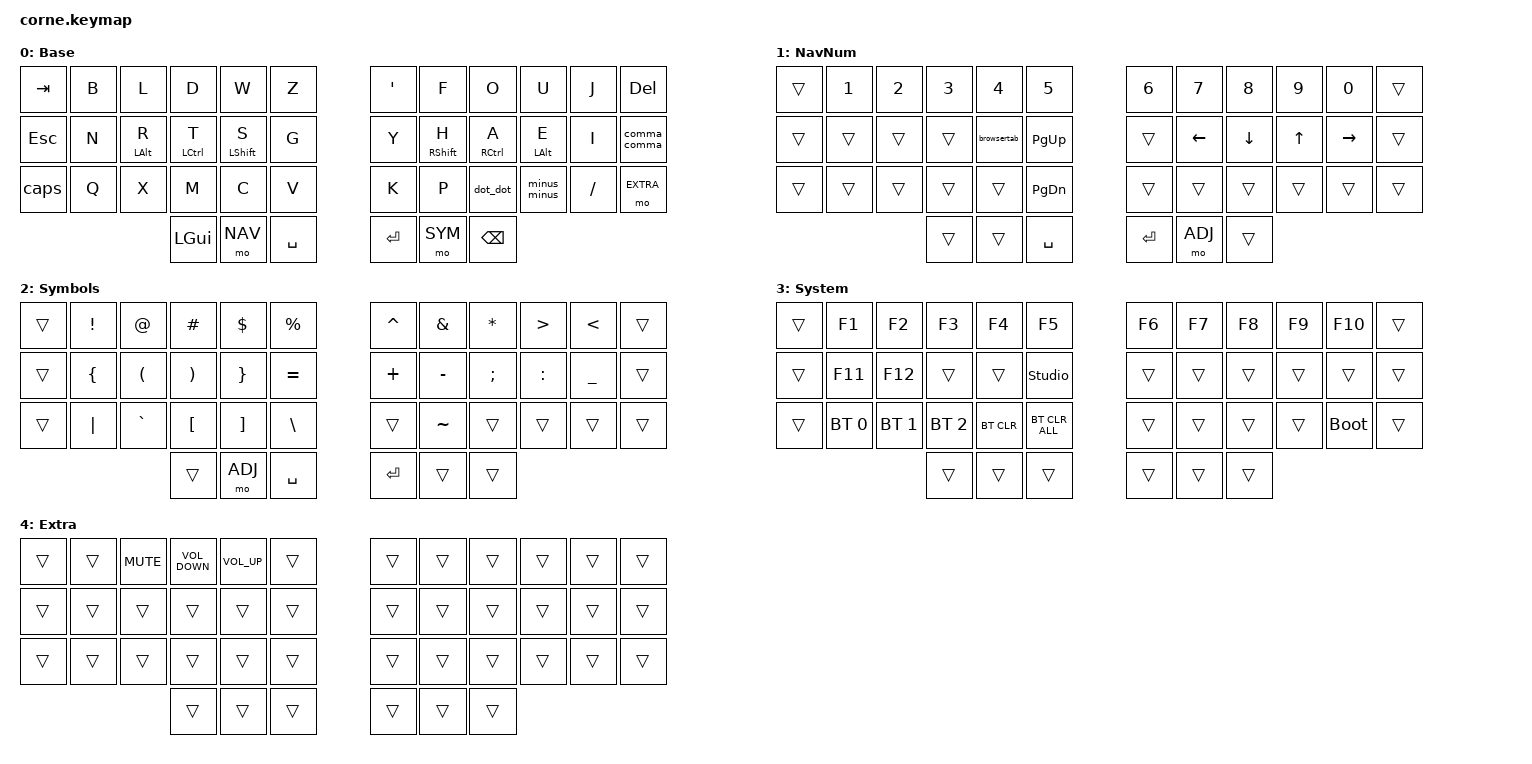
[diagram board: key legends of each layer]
#include <behaviors.dtsi>
#include <dt-bindings/zmk/bt.h>
#include <dt-bindings/zmk/keys.h>

#define DEF 0
#define NAV 1
#define SYM 2
#define ADJ 3
#define EXTRA 4

/ {
    behaviors {
        /* Positional home-row mods: a hold only registers if the next key is on
           the OPPOSITE hand (or a thumb); same-hand sequences always resolve as
           letters, so hesitating mid-word can no longer emit a stray modifier.
           hold-trigger-on-release keeps same-hand mod stacking (e.g. Ctrl+Shift). */
        hml: homerow_mods_left {
            compatible = "zmk,behavior-hold-tap";
            #binding-cells = <2>;
            tapping-term-ms = <200>;
            flavor = "tap-preferred";
            bindings = <&kp>, <&kp>;

            quick-tap-ms = <180>;
            require-prior-idle-ms = <120>; /* tune to taste */
            hold-trigger-key-positions = <6 7 8 9 10 11 18 19 20 21 22 23 30 31 32 33 34 35 36 37 38 39 40 41>;
            hold-trigger-on-release;
        };

        hmr: homerow_mods_right {
            compatible = "zmk,behavior-hold-tap";
            #binding-cells = <2>;
            tapping-term-ms = <200>;
            flavor = "tap-preferred";
            bindings = <&kp>, <&kp>;

            quick-tap-ms = <180>;
            require-prior-idle-ms = <120>; /* tune to taste */
            hold-trigger-key-positions = <0 1 2 3 4 5 12 13 14 15 16 17 24 25 26 27 28 29 36 37 38 39 40 41>;
            hold-trigger-on-release;
        };

        caps: caps {
            compatible = "zmk,behavior-caps-word";
            #binding-cells = <0>;
            continue-list = <MINUS BACKSPACE>;
        };

        /* Shift-cancelling morphs: these keys print the same character whether
           or not Shift is held (Shift is masked). ' and / are plain keys, so
           they keep their standard shifted symbols (" and ?). */
        comma_comma: comma_comma {
            compatible = "zmk,behavior-mod-morph";
            bindings = <&kp COMMA>, <&kp COMMA>;

            #binding-cells = <0>;
            mods = <(MOD_LSFT|MOD_RSFT)>;
        };

        dot_dot: dot_dot {
            compatible = "zmk,behavior-mod-morph";
            bindings = <&kp PERIOD>, <&kp PERIOD>;

            #binding-cells = <0>;
            mods = <(MOD_LSFT|MOD_RSFT)>;
        };

        minus_minus: minus_minus {
            compatible = "zmk,behavior-mod-morph";
            bindings = <&kp MINUS>, <&kp MINUS>;

            #binding-cells = <0>;
            mods = <(MOD_LSFT|MOD_RSFT)>;
        };
    };

    macros {
        browsertab: browsertab {
            compatible = "zmk,behavior-macro";
            #binding-cells = <0>;
            bindings =
                <&macro_press>,
                <&kp LCTRL>,
                <&macro_tap>,
                <&kp TAB>,
                <&macro_release>,
                <&kp LCTRL>;
        };
    };

    keymap {
        compatible = "zmk,keymap";

        DEF {
            display-name = "Base";

            // Graphite (2023) + home-row mods (hold: Alt/Ctrl/Shift)
            // Shift behavior: '(") and /(?) are standard; , . - always print themselves
            // -----------------------------------------------------------------------------------------
            // | TAB |  B  |  L  |  D  |  W  |  Z  |   | '(") |  F  |  O  |  U  |  J  | DEL   |
            // | ESC |  N  |  R  |  T  |  S  |  G  |   |  Y   |  H  |  A  |  E  |  I  |  ,    |
            // | CAPS|  Q  |  X  |  M  |  C  |  V  |   |  K   |  P  |  .  |  -  | /(?)| EXTRA |
            //                   | GUI | NAV | SPC |   | ENT  | SYM | BSPC |

            bindings = <
&kp TAB      &kp B         &kp L         &kp D          &kp W          &kp Z        &kp SQT    &kp F          &kp O          &kp U         &kp J         &kp DELETE
&kp ESCAPE   &kp N         &hml LALT R   &hml LCTRL T   &hml LSHFT S   &kp G        &kp Y      &hmr RSHFT H   &hmr RCTRL A   &hmr LALT E   &kp I         &comma_comma
&caps        &kp Q         &kp X         &kp M          &kp C          &kp V        &kp K      &kp P          &dot_dot       &minus_minus  &kp FSLH      &mo EXTRA
                                         &kp LGUI       &mo NAV        &kp SPACE    &kp RET    &mo SYM        &kp BACKSPACE
            >;
        };

        NAV {
            display-name = "NavNum";

            // -----------------------------------------------------------------------------------------
            // |     |  1  |  2  |  3  |  4   |  5   |   |  6  |  7  |  8  |  9  |  0  |     |
            // |     |     |     |     | CTAB | PGUP |   |     | LFT | DWN | UP  | RGT |     |
            // |     |     |     |     |      | PGDN |   |     |     |     |     |     |     |
            //                   |     |(held)| SPC  |   | ENT | ADJ |     |

            bindings = <
&trans      &kp N1  &kp N2  &kp N3    &kp N4       &kp N5           &kp N6   &kp N7    &kp N8    &kp N9        &kp N0     &trans
&trans      &trans  &trans  &trans    &browsertab  &kp PAGE_UP      &trans   &kp LEFT  &kp DOWN  &kp UP_ARROW  &kp RIGHT  &trans
&trans      &trans  &trans  &trans    &trans       &kp PAGE_DOWN    &trans   &trans    &trans    &trans        &trans     &trans
                            &trans    &trans       &kp SPACE        &kp RET  &mo ADJ   &trans
            >;
        };

        SYM {
            display-name = "Symbols";

            // -----------------------------------------------------------------------------------------
            // |     |  !  |  @  |  #  |  $  |  %  |   |  ^  |  &  |  *  |  >  |  <  |     |
            // |     |  {  |  (  |  )  |  }  |  =  |   |  +  |  -  |  ;  |  :  |  _  |     |
            // |     | "|" |  `  |  [  |  ]  |  \  |   |     |  ~  |     |     |     |     |
            //                   |     | ADJ |  SPC |   | ENT |(held)|     |

            bindings = <
&trans  &kp EXCL        &kp AT                &kp HASH               &kp DLLR           &kp PRCNT        &kp CARET  &kp AMPS   &kp ASTRK      &kp GREATER_THAN  &kp LESS_THAN   &trans
&trans  &kp LEFT_BRACE  &kp LEFT_PARENTHESIS  &kp RIGHT_PARENTHESIS  &kp RIGHT_BRACE    &kp EQUAL        &kp PLUS   &kp MINUS  &kp SEMICOLON  &kp COLON         &kp UNDERSCORE  &trans
&trans  &kp PIPE        &kp GRAVE             &kp LEFT_BRACKET       &kp RIGHT_BRACKET  &kp BACKSLASH    &trans     &kp TILDE  &trans         &trans            &trans          &trans
                                              &trans                 &mo ADJ            &kp SPACE        &kp RET    &trans     &trans
            >;
        };

        ADJ {
            display-name = "System";

            // -----------------------------------------------------------------------------------------
            // |     |  F1 |  F2 |  F3 |  F4  |  F5   |   |  F6 |  F7 |  F8 |  F9 | F10  |     |
            // |     | F11 | F12 |     |      | STUDIO|   |     |     |     |     |      |     |
            // |     | BT0 | BT1 | BT2 | BTCLR| CLRALL|   |     |     |     |     | BOOT |     |
            //                   |     |(held)|       |   |     |(held)|    |

            bindings = <
&trans  &kp F1        &kp F2        &kp F3        &kp F4      &kp F5            &kp F6  &kp F7  &kp F8  &kp F9  &kp F10      &trans
&trans  &kp F11       &kp F12       &trans        &trans      &studio_unlock    &trans  &trans  &trans  &trans  &trans       &trans
&trans  &bt BT_SEL 0  &bt BT_SEL 1  &bt BT_SEL 2  &bt BT_CLR  &bt BT_CLR_ALL    &trans  &trans  &trans  &trans  &bootloader  &trans
                                    &trans        &trans      &trans            &trans  &trans  &trans
            >;
        };

        EXTRA {
            display-name = "Extra";

            // -----------------------------------------------------------------------------------------
            // |     |     | MUTE| VOL-| VOL+|     |   |     |     |     |     |     |      |
            // |     |     |     |     |     |     |   |     |     |     |     |     |      |
            // |     |     |     |     |     |     |   |     |     |     |     |     |(held)|
            //                   |     |     |     |   |     |     |     |

            bindings = <
&trans  &trans     &kp K_MUTE  &kp C_VOLUME_DOWN  &kp C_VOLUME_UP  &trans    &trans  &trans  &trans  &trans  &trans  &trans
&trans  &trans     &trans      &trans             &trans           &trans    &trans  &trans  &trans  &trans  &trans  &trans
&trans  &trans     &trans      &trans             &trans           &trans    &trans  &trans  &trans  &trans  &trans  &trans
                               &trans             &trans           &trans    &trans  &trans  &trans
            >;
        };
    };
};
